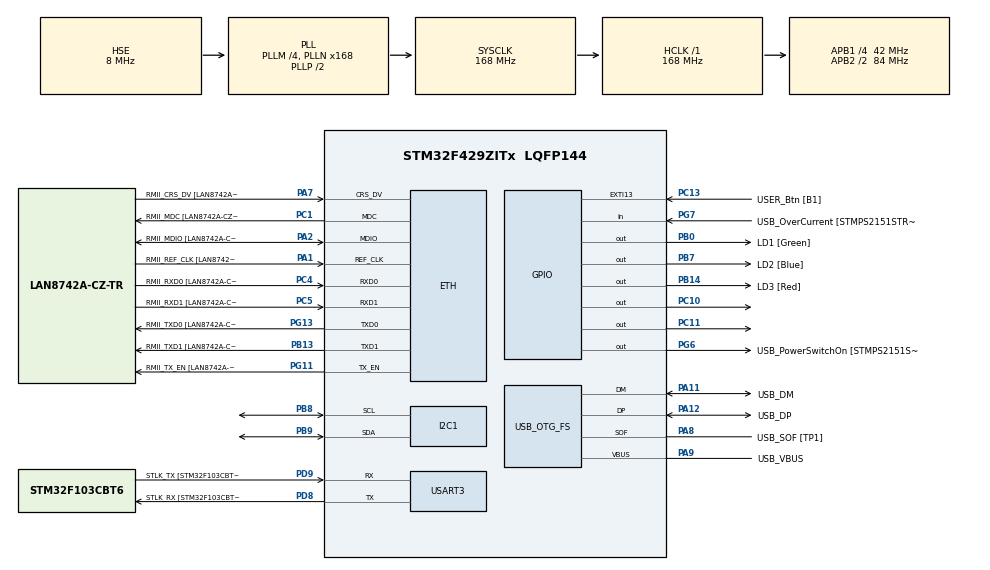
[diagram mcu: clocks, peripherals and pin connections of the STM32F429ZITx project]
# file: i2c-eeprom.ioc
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ETH.MediaInterface=HAL_ETH_RMII_MODE
ETH.PHY_Name=LAN8742A_PHY_ADDRESS
ETH.PHY_Value=0
ETH.PhyAddress=0
Mcu.Family=STM32F4
Mcu.Name=STM32F429ZITx
Mcu.Package=LQFP144
NVIC.PriorityGroup=NVIC_PRIORITYGROUP_4
NVIC.USART3_IRQn=true\:0\:0\:false\:false\:true\:true\:true\:true
PA1.GPIO_Label=RMII_REF_CLK [LAN8742A-CZ-TR_REFCLK0]
PA1.Mode=RMII
PA1.Signal=ETH_REF_CLK
PA10.GPIO_Label=USB_ID
PA10.Signal=USB_OTG_FS_ID
PA11.GPIO_Label=USB_DM
PA11.Mode=Device_Only
PA11.Signal=USB_OTG_FS_DM
PA12.GPIO_Label=USB_DP
PA12.Mode=Device_Only
PA12.Signal=USB_OTG_FS_DP
PA13.GPIO_Label=TMS
PA13.Mode=Serial_Wire
PA13.Signal=SYS_JTMS-SWDIO
PA14.GPIO_Label=TCK
PA14.Mode=Serial_Wire
PA14.Signal=SYS_JTCK-SWCLK
PA2.GPIO_Label=RMII_MDIO [LAN8742A-CZ-TR_MDIO]
PA2.Mode=RMII
PA2.Signal=ETH_MDIO
PA7.GPIO_Label=RMII_CRS_DV [LAN8742A-CZ-TR_CRS_DV]
PA7.Mode=RMII
PA7.Signal=ETH_CRS_DV
PA8.GPIO_Label=USB_SOF [TP1]
PA8.Mode=Activate_SOF_FS
PA8.Signal=USB_OTG_FS_SOF
PA9.GPIO_Label=USB_VBUS
PA9.Mode=Activate_VBUS
PA9.Signal=USB_OTG_FS_VBUS
PB0.GPIO_Label=LD1 [Green]
PB0.Signal=GPIO_Output
PB13.GPIO_Label=RMII_TXD1 [LAN8742A-CZ-TR_TXD1]
PB13.Mode=RMII
PB13.Signal=ETH_TXD1
PB14.GPIO_Label=LD3 [Red]
PB14.Signal=GPIO_Output
PB7.GPIO_Label=LD2 [Blue]
PB7.Signal=GPIO_Output
PB8.Mode=I2C
PB8.Signal=I2C1_SCL
PB9.Mode=I2C
PB9.Signal=I2C1_SDA
PC1.GPIO_Label=RMII_MDC [LAN8742A-CZ-TR_MDC]
PC1.Mode=RMII
PC1.Signal=ETH_MDC
PC10.Signal=GPIO_Output
PC11.Signal=GPIO_Output
PC13.GPIO_Label=USER_Btn [B1]
PC13.Signal=GPXTI13
PC14/OSC32_IN.Mode=LSE-External-Oscillator
PC14/OSC32_IN.Signal=RCC_OSC32_IN
PC15/OSC32_OUT.Mode=LSE-External-Oscillator
PC15/OSC32_OUT.Signal=RCC_OSC32_OUT
PC4.GPIO_Label=RMII_RXD0 [LAN8742A-CZ-TR_RXD0]
PC4.Mode=RMII
PC4.Signal=ETH_RXD0
PC5.GPIO_Label=RMII_RXD1 [LAN8742A-CZ-TR_RXD1]
PC5.Mode=RMII
PC5.Signal=ETH_RXD1
PD8.GPIO_Label=STLK_RX [STM32F103CBT6_PA3]
PD8.Mode=Asynchronous
PD8.Signal=USART3_TX
PD9.GPIO_Label=STLK_TX [STM32F103CBT6_PA2]
PD9.Mode=Asynchronous
PD9.Signal=USART3_RX
PG11.GPIO_Label=RMII_TX_EN [LAN8742A-CZ-TR_TXEN]
PG11.Mode=RMII
PG11.Signal=ETH_TX_EN
PG13.GPIO_Label=RMII_TXD0 [LAN8742A-CZ-TR_TXD0]
PG13.Mode=RMII
PG13.Signal=ETH_TXD0
PG6.GPIO_Label=USB_PowerSwitchOn [STMPS2151STR_EN]
PG6.Signal=GPIO_Output
PG7.GPIO_Label=USB_OverCurrent [STMPS2151STR_FAULT]
PG7.Signal=GPIO_Input
PH0/OSC_IN.GPIO_Label=MCO [STM32F103CBT6_PA8]
PH0/OSC_IN.Mode=HSE-External-Clock-Source
PH0/OSC_IN.Signal=RCC_OSC_IN
PH1/OSC_OUT.Mode=HSE-External-Clock-Source
PH1/OSC_OUT.Signal=RCC_OSC_OUT
ProjectManager.HeapSize=0x200
ProjectManager.StackSize=0x400
ProjectManager.TargetToolchain=STM32CubeIDE
RCC.48MHZClocksFreq_Value=48000000
RCC.AHBFreq_Value=168000000
RCC.APB1CLKDivider=RCC_HCLK_DIV4
RCC.APB1Freq_Value=42000000
RCC.APB1TimFreq_Value=84000000
RCC.APB2CLKDivider=RCC_HCLK_DIV2
RCC.APB2Freq_Value=84000000
RCC.APB2TimCLKDivider=2
RCC.APB2TimFreq_Value=168000000
RCC.CortexFreq_Value=168000000
RCC.HCLKFreq_Value=168000000
RCC.HSE_VALUE=8000000
RCC.HSI_VALUE=16000000
RCC.PLLM=4
RCC.PLLMUL=RCC_PLL_MUL9
RCC.PLLN=168
RCC.PLLQ=7
RCC.PRESCALERUSB=RCC_USBCLKSOURCE_PLL_DIV1_5
RCC.SYSCLKFreq_VALUE=168000000
RCC.SYSCLKSource=RCC_SYSCLKSOURCE_PLLCLK
RCC.SYSCLKSourceVirtual=RCC_SYSCLKSOURCE_PLLCLK
RCC.USBFreq_Value=48000000
RCC.VCOOutputFreq_Value=336000000
USART3.VirtualMode=VM_ASYNC
USB_OTG_FS.VirtualMode=Device_Only
board=NUCLEO-F429ZI

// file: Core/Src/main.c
/* USER CODE BEGIN Header */
/**
  ******************************************************************************
  * @file           : main.c
  * @brief          : Main program body
  ******************************************************************************
  * @attention
  *
  * Copyright (c) 2022 STMicroelectronics.
  * All rights reserved.
  *
  * This software is licensed under terms that can be found in the LICENSE file
  * in the root directory of this software component.
  * If no LICENSE file comes with this software, it is provided AS-IS.
  *
  ******************************************************************************
  */
/* USER CODE END Header */
#include "main.h"
#include "string.h"

/* USER CODE BEGIN PD */

#define M24512_I2C_SDA_PIN GPIO_PIN_9
#define M24512_I2C_SCL_PIN GPIO_PIN_8
#define M24512_I2C_GPIO GPIOB

// Define the Page Size and number of pages
#define PAGE_SIZE 128     // in Bytes
#define PAGE_NUM  500    // number of pages

/* USER CODE END PD */

ETH_TxPacketConfig TxConfig;
ETH_DMADescTypeDef  DMARxDscrTab[ETH_RX_DESC_CNT]; /* Ethernet Rx DMA Descriptors */
ETH_DMADescTypeDef  DMATxDscrTab[ETH_TX_DESC_CNT]; /* Ethernet Tx DMA Descriptors */

 ETH_HandleTypeDef heth;

I2C_HandleTypeDef hi2c1;

UART_HandleTypeDef huart3;

PCD_HandleTypeDef hpcd_USB_OTG_FS;

/* USER CODE BEGIN PV */
uint8_t testReceiveData[60];
static const uint8_t M24512_DEV_ADDR = 0xA0;
const uint8_t addrhex[2] = "0x";
uint8_t test[13];
uint16_t memAddr;
uint8_t memHighAddr;
uint8_t memLowAddr;
uint8_t memAddrArr[12];

int errorFlag = 0;
int writeFlag = 0;
int readFlag = 0;
int i2cFlag = 0;
int clearFlag = 0;

/* USER CODE END PV */

void SystemClock_Config(void);
static void MX_GPIO_Init(void);
static void MX_ETH_Init(void);
static void MX_USART3_UART_Init(void);
static void MX_USB_OTG_FS_PCD_Init(void);
static void MX_I2C1_Init(void);

/* USER CODE BEGIN 0 */
void removeChar(char * str, char charToRemove){
    int i, j;
    int len = strlen(str);
    for(i=0; i<len; i++)
    {
        if(str[i] == charToRemove)
        {
            for(j=i; j<len; j++)
            {
                str[j] = str[j+1];
            }
            len--;
            i--;
        }
    }
}

void slice(const char *str, char *result, size_t start, size_t end){
    strncpy(result, str + start, end - start);
}

void MY_UART_Transmit(UART_HandleTypeDef *huart, const uint8_t *pData, uint16_t Size, uint32_t Timeout){

	removeChar(pData,'\n');
	removeChar(pData,'\r');
	strcat(pData, "\r\n");

	HAL_UART_Transmit(&huart3, pData, strlen(pData), Timeout);
}

/* USER CODE END 0 */

int main(void)
{
  /* USER CODE BEGIN 1 */
	uint8_t dataBuffer[10] = {0};
	int deviceReadyFlag = 1;
  /* USER CODE END 1 */

  /* MCU Configuration--------------------------------------------------------*/

  /* Reset of all peripherals, Initializes the Flash interface and the Systick. */
  HAL_Init();

  /* Configure the system clock */
  SystemClock_Config();

  /* Initialize all configured peripherals */
  MX_GPIO_Init();
  MX_ETH_Init();
  MX_USART3_UART_Init();
  MX_USB_OTG_FS_PCD_Init();
  MX_I2C1_Init();
  /* USER CODE BEGIN 2 */
  HAL_UART_Receive_IT(&huart3,testReceiveData,sizeof(testReceiveData));
  /* USER CODE END 2 */

  /* Infinite loop */
  /* USER CODE BEGIN WHILE */
  while (1)
  {

	  if(deviceReadyFlag)
	  {
		  deviceReadyFlag = 0;
		  HAL_StatusTypeDef ready = HAL_I2C_IsDeviceReady(&hi2c1, M24512_DEV_ADDR, 1, 1000);
		  if (ready != HAL_OK)
			  strcpy((char*)dataBuffer, "NOT READY\r\n");
		  else
			  MY_UART_Transmit(&huart3, "READY\r\n", 7, 1000);
	  }

/*
	  HAL_StatusTypeDef stat = HAL_I2C_Mem_Write(&hi2c1, M24512_DEV_ADDR, addrTest, 8, dataTestBuffer, sizeof(dataTestBuffer), HAL_MAX_DELAY);
	  if ( stat != HAL_OK )
	  	strcpy((char*)dataBuffer, "Error Tx\r\n");

	  HAL_StatusTypeDef ret = HAL_I2C_Mem_Read(&hi2c1, M24512_DEV_ADDR, addrTest, 8, dataBuffer, sizeof(dataBuffer), HAL_MAX_DELAY);
	  if ( ret != HAL_OK )
	  {
	  	strcpy((char*)dataBuffer, "Error Rx\r\n");
	  }
	  else
	  {
	  	HAL_UART_Transmit(&huart3, "Received: ", 9, 1000);
		MY_UART_Transmit(&huart3, dataBuffer, strlen(dataBuffer), 1000);
	  }

	  HAL_Delay(1000);
*/

	if(i2cFlag)
	  	{
	  		i2cFlag = 0;
	  		if(writeFlag || clearFlag)
	  		{
	  			HAL_StatusTypeDef stat = HAL_I2C_Master_Transmit(&hi2c1, M24512_DEV_ADDR, memAddrArr, 10, 3000);
	  			if ( stat != HAL_OK )
	  			{
	  				strcpy((char*)dataBuffer, "Error MemAddr Tx\r\n");
	  				errorFlag = 1;
	  			}

	  			writeFlag = 0;
	  			clearFlag = 0;
	  		}

	  		else if(readFlag)
	  		{
	  			HAL_StatusTypeDef ret = HAL_I2C_Master_Transmit(&hi2c1, M24512_DEV_ADDR, memAddrArr, 2, 3000);
	  			if ( ret != HAL_OK )
	  			{
	  				strcpy((char*)dataBuffer, "Error MemAddrArr Tx in Rx\r\n");
	  				errorFlag = 1;
	  			}

	  			ret = HAL_I2C_Master_Receive(&hi2c1, M24512_DEV_ADDR, dataBuffer, sizeof(dataBuffer), 3000);
	  			if(ret != HAL_OK)
	  			{
	  				strcpy((char*)dataBuffer, "Error Data Rx\r\n");
	  				errorFlag = 1;
	  			}

	  			else
	  			{
	  				HAL_UART_Transmit(&huart3, "RECEIVED: ", 10, 1000);
	  				MY_UART_Transmit(&huart3, dataBuffer, strlen(dataBuffer), 1000);
	  			}
	  			readFlag = 0;
	  	  	}
	  	if(errorFlag)
	  	{
			errorFlag = 0;
			MY_UART_Transmit(&huart3, dataBuffer, strlen(dataBuffer), 1000);
	  	}
		  HAL_UART_Receive_IT(&huart3,testReceiveData,sizeof(testReceiveData));
	}
/*
		  if(i2cFlag)
	  	{
	  		i2cFlag = 0;
	  		if(writeFlag || clearFlag)
	  		{
	  			HAL_StatusTypeDef stat = HAL_I2C_Mem_Write(&hi2c1, M24512_DEV_ADDR, memAddr, 8, test, sizeof(test), 3000);
	  			if ( stat != HAL_OK )
	  			{
	  				strcpy((char*)dataBuffer, "Error Tx\r\n");
	  			}
	  			writeFlag = 0;
	  			clearFlag = 0;
	  		}

	  		else if(readFlag)
	  		{
	  			HAL_StatusTypeDef ret = HAL_I2C_Mem_Read(&hi2c1, M24512_DEV_ADDR, memAddr, 8, dataBuffer, sizeof(dataBuffer), 3000);
	  			if ( ret != HAL_OK )
	  			{
	  				strcpy((char*)dataBuffer, "Error Rx\r\n");
	  			}
	  			else
	  			{
	  				HAL_UART_Transmit(&huart3, "Received: ", 9, 1000);
	  				MY_UART_Transmit(&huart3, dataBuffer, strlen(dataBuffer), 1000);
	  			}
	  			readFlag = 0;
	  			HAL_Delay(1000);
	  	  	}

	  //MY_UART_Transmit(&huart3, dataBuffer, strlen(dataBuffer), 1000);
	  HAL_UART_Receive_IT(&huart3,testReceiveData,sizeof(testReceiveData));
	}
*/
    /* USER CODE END WHILE */

  }
}

void SystemClock_Config(void)
{
  RCC_OscInitTypeDef RCC_OscInitStruct = {0};
  RCC_ClkInitTypeDef RCC_ClkInitStruct = {0};

  /** Configure the main internal regulator output voltage
  */
  __HAL_RCC_PWR_CLK_ENABLE();
  __HAL_PWR_VOLTAGESCALING_CONFIG(PWR_REGULATOR_VOLTAGE_SCALE1);

  /** Initializes the RCC Oscillators according to the specified parameters
  * in the RCC_OscInitTypeDef structure.
  */
  RCC_OscInitStruct.OscillatorType = RCC_OSCILLATORTYPE_HSE;
  RCC_OscInitStruct.HSEState = RCC_HSE_BYPASS;
  RCC_OscInitStruct.PLL.PLLState = RCC_PLL_ON;
  RCC_OscInitStruct.PLL.PLLSource = RCC_PLLSOURCE_HSE;
  RCC_OscInitStruct.PLL.PLLM = 4;
  RCC_OscInitStruct.PLL.PLLN = 168;
  RCC_OscInitStruct.PLL.PLLP = RCC_PLLP_DIV2;
  RCC_OscInitStruct.PLL.PLLQ = 7;
  if (HAL_RCC_OscConfig(&RCC_OscInitStruct) != HAL_OK)
  {
    Error_Handler();
  }

  /** Initializes the CPU, AHB and APB buses clocks
  */
  RCC_ClkInitStruct.ClockType = RCC_CLOCKTYPE_HCLK|RCC_CLOCKTYPE_SYSCLK
                              |RCC_CLOCKTYPE_PCLK1|RCC_CLOCKTYPE_PCLK2;
  RCC_ClkInitStruct.SYSCLKSource = RCC_SYSCLKSOURCE_PLLCLK;
  RCC_ClkInitStruct.AHBCLKDivider = RCC_SYSCLK_DIV1;
  RCC_ClkInitStruct.APB1CLKDivider = RCC_HCLK_DIV4;
  RCC_ClkInitStruct.APB2CLKDivider = RCC_HCLK_DIV2;

  if (HAL_RCC_ClockConfig(&RCC_ClkInitStruct, FLASH_LATENCY_5) != HAL_OK)
  {
    Error_Handler();
  }
}

static void MX_ETH_Init(void)
{

   static uint8_t MACAddr[6];

  heth.Instance = ETH;
  MACAddr[0] = 0x00;
  MACAddr[1] = 0x80;
  MACAddr[2] = 0xE1;
  MACAddr[3] = 0x00;
  MACAddr[4] = 0x00;
  MACAddr[5] = 0x00;
  heth.Init.MACAddr = &MACAddr[0];
  heth.Init.MediaInterface = HAL_ETH_RMII_MODE;
  heth.Init.TxDesc = DMATxDscrTab;
  heth.Init.RxDesc = DMARxDscrTab;
  heth.Init.RxBuffLen = 1524;

  if (HAL_ETH_Init(&heth) != HAL_OK)
  {
    Error_Handler();
  }

  memset(&TxConfig, 0 , sizeof(ETH_TxPacketConfig));
  TxConfig.Attributes = ETH_TX_PACKETS_FEATURES_CSUM | ETH_TX_PACKETS_FEATURES_CRCPAD;
  TxConfig.ChecksumCtrl = ETH_CHECKSUM_IPHDR_PAYLOAD_INSERT_PHDR_CALC;
  TxConfig.CRCPadCtrl = ETH_CRC_PAD_INSERT;

}

static void MX_I2C1_Init(void)
{

  hi2c1.Instance = I2C1;
  hi2c1.Init.ClockSpeed = 100000;
  hi2c1.Init.DutyCycle = I2C_DUTYCYCLE_2;
  hi2c1.Init.OwnAddress1 = 0;
  hi2c1.Init.AddressingMode = I2C_ADDRESSINGMODE_7BIT;
  hi2c1.Init.DualAddressMode = I2C_DUALADDRESS_DISABLE;
  hi2c1.Init.OwnAddress2 = 0;
  hi2c1.Init.GeneralCallMode = I2C_GENERALCALL_DISABLE;
  hi2c1.Init.NoStretchMode = I2C_NOSTRETCH_DISABLE;
  if (HAL_I2C_Init(&hi2c1) != HAL_OK)
  {
    Error_Handler();
  }

  /** Configure Analogue filter
  */
  if (HAL_I2CEx_ConfigAnalogFilter(&hi2c1, I2C_ANALOGFILTER_ENABLE) != HAL_OK)
  {
    Error_Handler();
  }

  /** Configure Digital filter
  */
  if (HAL_I2CEx_ConfigDigitalFilter(&hi2c1, 0) != HAL_OK)
  {
    Error_Handler();
  }

}

static void MX_USART3_UART_Init(void)
{

  huart3.Instance = USART3;
  huart3.Init.BaudRate = 115200;
  huart3.Init.WordLength = UART_WORDLENGTH_8B;
  huart3.Init.StopBits = UART_STOPBITS_1;
  huart3.Init.Parity = UART_PARITY_NONE;
  huart3.Init.Mode = UART_MODE_TX_RX;
  huart3.Init.HwFlowCtl = UART_HWCONTROL_NONE;
  huart3.Init.OverSampling = UART_OVERSAMPLING_16;
  if (HAL_UART_Init(&huart3) != HAL_OK)
  {
    Error_Handler();
  }

}

static void MX_USB_OTG_FS_PCD_Init(void)
{

  hpcd_USB_OTG_FS.Instance = USB_OTG_FS;
  hpcd_USB_OTG_FS.Init.dev_endpoints = 4;
  hpcd_USB_OTG_FS.Init.speed = PCD_SPEED_FULL;
  hpcd_USB_OTG_FS.Init.dma_enable = DISABLE;
  hpcd_USB_OTG_FS.Init.phy_itface = PCD_PHY_EMBEDDED;
  hpcd_USB_OTG_FS.Init.Sof_enable = ENABLE;
  hpcd_USB_OTG_FS.Init.low_power_enable = DISABLE;
  hpcd_USB_OTG_FS.Init.lpm_enable = DISABLE;
  hpcd_USB_OTG_FS.Init.vbus_sensing_enable = ENABLE;
  hpcd_USB_OTG_FS.Init.use_dedicated_ep1 = DISABLE;
  if (HAL_PCD_Init(&hpcd_USB_OTG_FS) != HAL_OK)
  {
    Error_Handler();
  }

}

static void MX_GPIO_Init(void)
{
  GPIO_InitTypeDef GPIO_InitStruct = {0};

  /* GPIO Ports Clock Enable */
  __HAL_RCC_GPIOC_CLK_ENABLE();
  __HAL_RCC_GPIOH_CLK_ENABLE();
  __HAL_RCC_GPIOA_CLK_ENABLE();
  __HAL_RCC_GPIOB_CLK_ENABLE();
  __HAL_RCC_GPIOD_CLK_ENABLE();
  __HAL_RCC_GPIOG_CLK_ENABLE();

  /*Configure GPIO pin Output Level */
  HAL_GPIO_WritePin(GPIOB, LD1_Pin|LD3_Pin|LD2_Pin, GPIO_PIN_RESET);

  /*Configure GPIO pin Output Level */
  HAL_GPIO_WritePin(USB_PowerSwitchOn_GPIO_Port, USB_PowerSwitchOn_Pin, GPIO_PIN_RESET);

  /*Configure GPIO pin Output Level */
  HAL_GPIO_WritePin(GPIOC, GPIO_PIN_10|GPIO_PIN_11, GPIO_PIN_RESET);

  /*Configure GPIO pin : USER_Btn_Pin */
  GPIO_InitStruct.Pin = USER_Btn_Pin;
  GPIO_InitStruct.Mode = GPIO_MODE_IT_RISING;
  GPIO_InitStruct.Pull = GPIO_NOPULL;
  HAL_GPIO_Init(USER_Btn_GPIO_Port, &GPIO_InitStruct);

  /*Configure GPIO pins : LD1_Pin LD3_Pin LD2_Pin */
  GPIO_InitStruct.Pin = LD1_Pin|LD3_Pin|LD2_Pin;
  GPIO_InitStruct.Mode = GPIO_MODE_OUTPUT_PP;
  GPIO_InitStruct.Pull = GPIO_NOPULL;
  GPIO_InitStruct.Speed = GPIO_SPEED_FREQ_LOW;
  HAL_GPIO_Init(GPIOB, &GPIO_InitStruct);

  /*Configure GPIO pin : USB_PowerSwitchOn_Pin */
  GPIO_InitStruct.Pin = USB_PowerSwitchOn_Pin;
  GPIO_InitStruct.Mode = GPIO_MODE_OUTPUT_PP;
  GPIO_InitStruct.Pull = GPIO_NOPULL;
  GPIO_InitStruct.Speed = GPIO_SPEED_FREQ_LOW;
  HAL_GPIO_Init(USB_PowerSwitchOn_GPIO_Port, &GPIO_InitStruct);

  /*Configure GPIO pin : USB_OverCurrent_Pin */
  GPIO_InitStruct.Pin = USB_OverCurrent_Pin;
  GPIO_InitStruct.Mode = GPIO_MODE_INPUT;
  GPIO_InitStruct.Pull = GPIO_NOPULL;
  HAL_GPIO_Init(USB_OverCurrent_GPIO_Port, &GPIO_InitStruct);

  /*Configure GPIO pins : PC10 PC11 */
  GPIO_InitStruct.Pin = GPIO_PIN_10|GPIO_PIN_11;
  GPIO_InitStruct.Mode = GPIO_MODE_OUTPUT_PP;
  GPIO_InitStruct.Pull = GPIO_NOPULL;
  GPIO_InitStruct.Speed = GPIO_SPEED_FREQ_LOW;
  HAL_GPIO_Init(GPIOC, &GPIO_InitStruct);

}

/* USER CODE BEGIN 4 */
void HAL_UART_RxCpltCallback(UART_HandleTypeDef *huart)
{

	char *arg;
	//char *temp = strdup(addrhex);
	char *temp1 = strdup(addrhex);
	char *temp2 = strdup(addrhex);

	if(!(strncmp(testReceiveData,"W",1)))
		writeFlag = 1;
	else
		writeFlag = 0;
	if(!(strncmp(testReceiveData,"R",1)))
		readFlag = 1;
	else
		readFlag = 0;
	if(!(strncmp(testReceiveData,"C",1)))
		clearFlag = 1;
	else
		clearFlag = 0;

	if(writeFlag)
	{
		arg = strchr(testReceiveData, ',');
		if (arg != NULL)
			arg++;
		else
			;
		strcpy(test, arg);
		removeChar(test, ',');
		//removeChar(test, '\r');
		//removeChar(test, '\n');

		for(int i = 2; i < sizeof(memAddrArr); i++)
		{
			memAddrArr[i] = test[i-2];
		}

	}

	else if(clearFlag)
	{
		memset(test,0xff,sizeof(test));
		memset(memAddrArr,0xff,sizeof(memAddrArr));
	}

	else
	{
		memset(test,0,sizeof(test));
		memset(memAddrArr,0,sizeof(memAddrArr));
	}

	/*
	 * 	char addr[4] = {0};

	//slice(testReceiveData, addr, 1, 5);
	strcat(temp,addr);
	 */
	char addr1[2] = {0};
	char addr2[2] = {0};

	//slice(testReceiveData, addr, 1, 5);
	slice(testReceiveData, addr1, 1, 3);
	slice(testReceiveData, addr2, 3, 5);
	//strcat(temp,addr);
	strcat(temp1,addr1);
	strcat(temp2,addr2);

	//memAddr = (int)strtol(temp, NULL, 16);
	memHighAddr = (int)strtol(temp1, NULL, 16);
	memLowAddr = (int)strtol(temp2, NULL, 16);

	memAddrArr[0] = memHighAddr;
	memAddrArr[1] = memLowAddr;

	//MY_UART_Transmit(&huart3, temp, strlen(temp), 100);;
	MY_UART_Transmit(&huart3, testReceiveData, strlen(testReceiveData), 100);
	memset(testReceiveData,0,sizeof(testReceiveData));
	i2cFlag = 1;

}
/* USER CODE END 4 */

void Error_Handler(void)
{
  __disable_irq();
  while (1)
  {
  }
}
